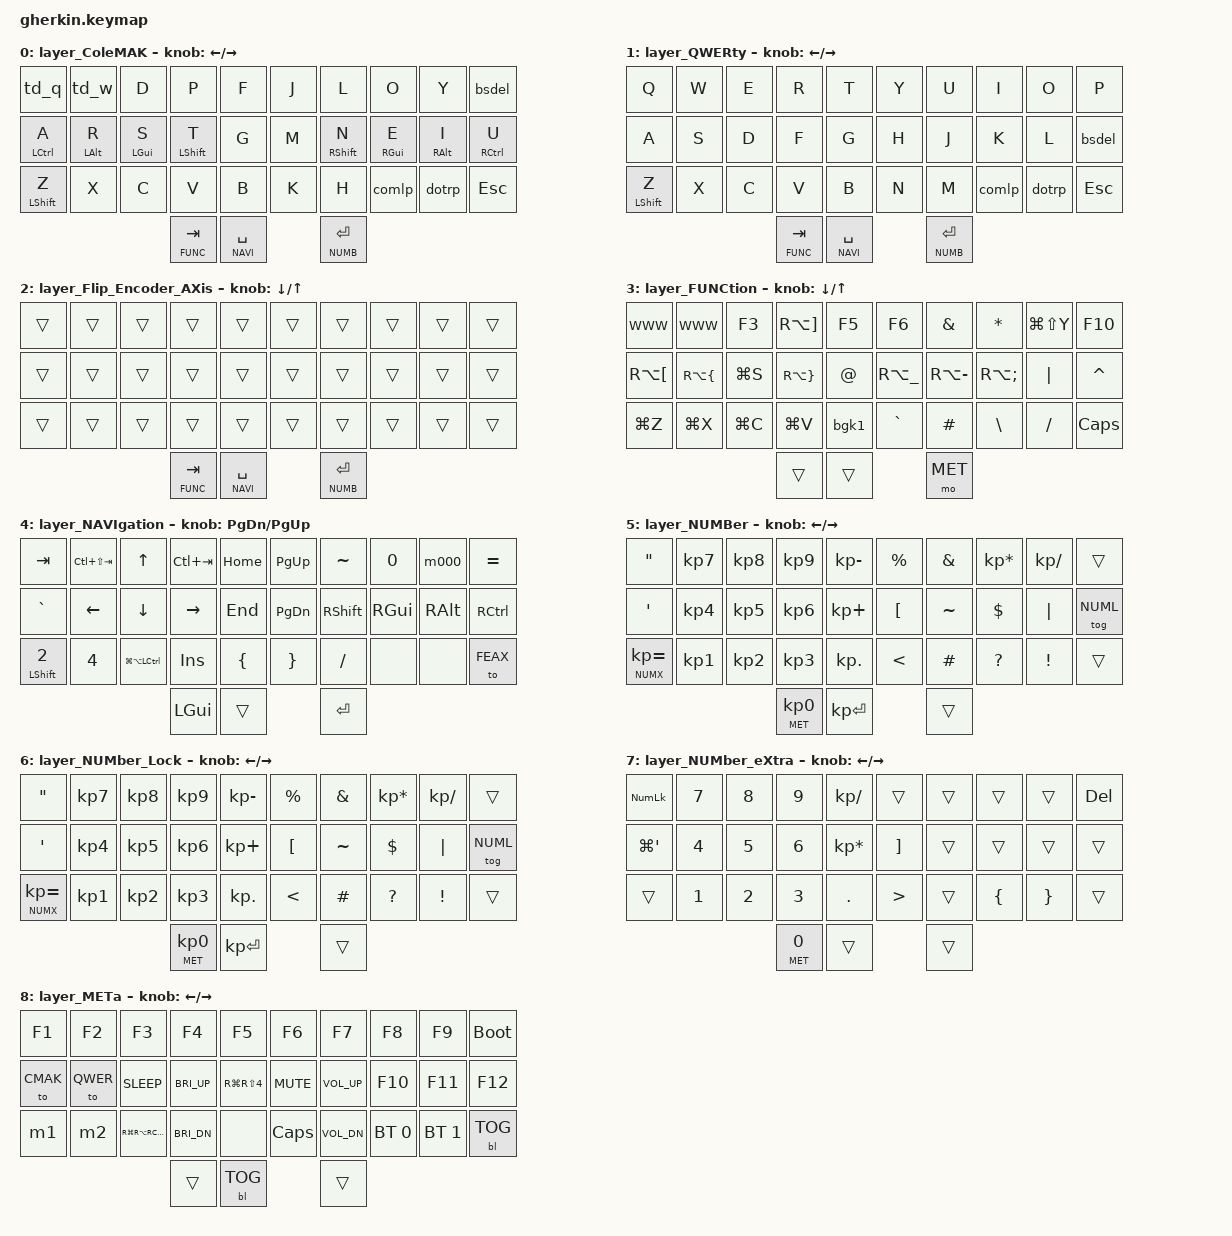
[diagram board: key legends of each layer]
/*
 * Copyright (c) 2020 The ZMK Contributors
 *
 * SPDX-License-Identifier: MIT
 */

#include <behaviors.dtsi>
#include <dt-bindings/zmk/keys.h>
#include <dt-bindings/zmk/backlight.h>
#include <dt-bindings/zmk/bt.h>
#include <dt-bindings/zmk/rgb.h>


/* Layers */
#define CMAK 0
#define QWER 1
#define FEAX 2
#define FUNC 3
#define NAVI 4
#define NUMB 5
#define NUML 6
#define NUMX 7
#define MET  8

/* Option Symbols */
#define LDQUO   RA(LBKT)
#define RDQUO   RA(LBRC)
#define LSQUO   RA(RBKT)
#define RSQUO   RA(RBRC)
#define NDASH   RA(MINUS)
#define MDASH   RA(UNDER)
#define ELLIP   RA(SEMI)

/* Shortcuts */
#define SCRSHT  RG(RS(N4))
#define TIMESHT RG(RA(RC(F10)))

/* Shorter Number Pad Codes */
#define P1      KP_NUMBER_1
#define P2      KP_NUMBER_2
#define P3      KP_NUMBER_3
#define P4      KP_NUMBER_4
#define P5      KP_NUMBER_5
#define P6      KP_NUMBER_6
#define P7      KP_NUMBER_7
#define P8      KP_NUMBER_8
#define P9      KP_NUMBER_9
#define P0      KP_NUMBER_0
#define PPLUS   KP_PLUS
#define PMIN    KP_MINUS
#define PMULT   KP_MULTIPLY
#define PDIV    KP_DIVIDE
#define PEQL    KP_EQUAL
#define PDOT    KP_DOT


&mt {
    tapping-term-ms = <175>;
    flavor = "balanced";
};

/ {
    behaviors {

        bsdel: backsp_del {
            compatible = "zmk,behavior-mod-morph";
            label = "BACKSP_DEL";
            #binding-cells = <0>;
            bindings = <&kp BSPC>, <&kp DEL>;
            mods = <MOD_LSFT>;
        };
        comlp: comma_paren {
            compatible = "zmk,behavior-mod-morph";
            label = "COMMA_PAREN";
            #binding-cells = <0>;
            bindings = <&kp COMMA>, <&kp LPAR>;
            mods = <MOD_LSFT>;
        };
        dotrp: dot_paren {
            compatible = "zmk,behavior-mod-morph";
            label = "DOT_PAREN";
            #binding-cells = <0>;
            bindings = <&kp DOT>, <&kp RPAR>;
            mods = <MOD_LSFT>;
        };

        td_q: tap_dance_q {
            compatible = "zmk,behavior-tap-dance";
            label = "TAP_DANCE_Q";
            #binding-cells = <0>;
            tapping-term-ms = <175>;
            bindings = <&kp Q>, <&kp SQT>;
        };
        td_w: tap_dance_w {
            compatible = "zmk,behavior-tap-dance";
            label = "TAP_DANCE_W";
            #binding-cells = <0>;
            tapping-term-ms = <175>;
            bindings = <&kp W>, <&kp DQT>;
        };
        td_comma: tap_dance_comma {
            compatible = "zmk,behavior-tap-dance";
            label = "TAP_DANCE_COMMA";
            #binding-cells = <0>;
            tapping-term-ms = <175>;
            bindings = <&kp COMMA>, <&kp SEMI>;
        };
        td_dot: tap_dance_dot {
            compatible = "zmk,behavior-tap-dance";
            label = "TAP_DANCE_DOT";
            #binding-cells = <0>;
            tapping-term-ms = <175>;
            bindings = <&kp DOT>, <&kp COLON>;
        };

/*
        grava: grave_a {
            compatible = "zmk,behavior-mod-morph";
            label = "GRAVE_A";
            #binding-cells = <0>;
            bindings = <&kp A>, <&kp GRAVE>;
            mods = <MOD_LGUI>;
        };
        taba: tab_a {
            compatible = "zmk,behavior-mod-morph";
            label = "TAB_A";
            #binding-cells = <0>;
            bindings = <&kp A>, <&kp TAB>;
            mods = <(MOD_LGUI|MOD_LALT|MOD_LCTL)>;
        };
        gravq: grave_q {
            compatible = "zmk,behavior-mod-morph";
            label = "GRAVE_Q";
            #binding-cells = <0>;
            bindings = <&kp Q>, <&kp GRAVE>;
            mods = <MOD_LGUI>;
        };
        tabq: tab_q {
            compatible = "zmk,behavior-mod-morph";
            label = "TAB_Q";
            #binding-cells = <0>;
            bindings = <&kp Q>, <&kp TAB>;
            mods = <(MOD_LGUI|MOD_LALT|MOD_LCTL)>;
        };
        stabr: shift_tab_r {
            compatible = "zmk,behavior-mod-morph";
            label = "SHIFT_TAB_R";
            #binding-cells = <0>;
            bindings = <&kp R>, <&kp BTAB>;
            mods = <(MOD_LALT|MOD_LCTL)>;
        };
        gravw: grave_w {
            compatible = "zmk,behavior-mod-morph";
            label = "GRAVE_W";
            #binding-cells = <0>;
            bindings = <&kp W>, <&kp GRAVE>;
            mods = <MOD_LGUI>;
        };
        tabw: tab_w {
            compatible = "zmk,behavior-mod-morph";
            label = "TAB_W";
            #binding-cells = <0>;
            bindings = <&kp W>, <&kp TAB>;
            mods = <(MOD_LGUI|MOD_LALT|MOD_LCTL)>;
        };
        comsc: comma_semi {
            compatible = "zmk,behavior-mod-morph";
            label = "COMMA_SEMI";
            #binding-cells = <0>;
            bindings = <&kp COMMA>, <&kp SEMI>;
            mods = <MOD_LSFT>;
        };
        dotco: dot_colon {
            compatible = "zmk,behavior-mod-morph";
            label = "DOT_COLON";
            #binding-cells = <0>;
            bindings = <&kp DOT>, <&kp COLON>;
            mods = <MOD_LSFT>;
        };
        comex: comma_excl {
            compatible = "zmk,behavior-mod-morph";
            label = "COMMA_EXCL";
            #binding-cells = <0>;
            bindings = <&kp COMMA>, <&kp EXCL>;
            mods = <MOD_LSFT>;
        };
        comqm: comma_qmark {
            compatible = "zmk,behavior-mod-morph";
            label = "COMMA_QMARK";
            #binding-cells = <0>;
            bindings = <&kp COMMA>, <&kp QMARK>;
            mods = <MOD_LSFT>;
        };
        dotex: dot_excl {
            compatible = "zmk,behavior-mod-morph";
            label = "DOT_EXCL";
            #binding-cells = <0>;
            bindings = <&kp DOT>, <&kp EXCL>;
            mods = <MOD_LSFT>;
        };
        dotqm: dot_qmark {
            compatible = "zmk,behavior-mod-morph";
            label = "DOT_QMARK";
            #binding-cells = <0>;
            bindings = <&kp DOT>, <&kp QMARK>;
            mods = <MOD_LSFT>;
        };
        minpl: minus_plus {
            compatible = "zmk,behavior-mod-morph";
            label = "MINUS_PLUS";
            #binding-cells = <0>;
            bindings = <&kp MINUS>, <&kp PLUS>;
            mods = <MOD_LSFT>;
        };
        slast: slash_astrk {
            compatible = "zmk,behavior-mod-morph";
            label = "SLASH_ASTRK";
            #binding-cells = <0>;
            bindings = <&kp SLASH>, <&kp ASTERISK>;
            mods = <MOD_LSFT>;
        };
*/
    };

    combos {
        compatible = "zmk,combos";
        combo_esc {
            timeout-ms = <50>;
            key-positions = <0 1>;
            layers = <0>;
            bindings = <&kp ESC>;
        };
        combo_minus {
            timeout-ms = <50>;
            key-positions = <8 9>;
            layers = <0>;
            bindings = <&kp MINUS>;
        };
        combo_capsword {
            timeout-ms = <50>;
            key-positions = <20 21>;
            layers = <0>;
            bindings = <&caps_word>;
        };
        combo_equal {
            timeout-ms = <50>;
            key-positions = <28 29>;
            layers = <0>;
            bindings = <&kp EQUAL>;
        };
    };

    macros {
        m000: macro000 {
            label = "macro000";
            compatible = "zmk,behavior-macro";
            #binding-cells = <0>;
            bindings
                = <&kp P0 &kp P0 &kp P0>
                ;
        };
        m1: macro1 {
            label = "macro1";
            compatible = "zmk,behavior-macro";
            #binding-cells = <0>;
            bindings
                = <&kp M &kp N1>
                ;
        };
        m2: macro2 {
            label = "macro2";
            compatible = "zmk,behavior-macro";
            #binding-cells = <0>;
            bindings
                = <&kp M &kp N2>
                ;
        };
        bgk1: macro_bgk1 {
            label = "macro_bgk1";
            compatible = "zmk,behavior-macro";
            #binding-cells = <0>;
            bindings
                = <&kp LS(B) &kp A &kp R &kp N &kp A &kp B &kp Y>
                ;
        };
    };

    sensors {
        compatible = "zmk,keymap-sensors";
        sensors = <&encoder>;
    };


    keymap {
        compatible = "zmk,keymap";

        layer_ColeMAK {
            bindings = <
                &td_q       &td_w       &kp D       &kp P       &kp F       &kp J       &kp L       &kp O       &kp Y       &bsdel
                &mt LCTRL A &mt LALT R  &mt LGUI S  &mt LSHFT T &kp G       &kp M       &mt RSHFT N &mt RGUI E  &mt RALT I  &mt RCTRL U
                &mt LSHFT Z &kp X       &kp C       &kp V       &kp B       &kp K       &kp H       &comlp      &dotrp      &kp ESC
                                                    &lt FUNC TAB    &lt NAVI SPC        &lt NUMB RET
            >;
            sensor-bindings = <&inc_dec_kp LEFT RIGHT>;
        };

        layer_QWERty {
            bindings = <
                &kp Q       &kp W       &kp E       &kp R       &kp T       &kp Y       &kp U       &kp I       &kp O       &kp P
                &kp A       &kp S       &kp D       &kp F       &kp G       &kp H       &kp J       &kp K       &kp L       &bsdel
                &mt LSHFT Z &kp X       &kp C       &kp V       &kp B       &kp N       &kp M       &comlp      &dotrp      &kp ESC
                                                    &lt FUNC TAB    &lt NAVI SPC        &lt NUMB RET
            >;
            sensor-bindings = <&inc_dec_kp LEFT RIGHT>;
        };

        layer_Flip_Encoder_AXis {
            bindings = <
                &trans      &trans      &trans      &trans      &trans      &trans      &trans      &trans      &trans      &trans
                &trans      &trans      &trans      &trans      &trans      &trans      &trans      &trans      &trans      &trans
                &trans      &trans      &trans      &trans      &trans      &trans      &trans      &trans      &trans      &trans
                                                    &lt FUNC TAB    &lt NAVI SPC        &lt NUMB RET
            >;
            sensor-bindings = <&inc_dec_kp DOWN UP>;
        };

        layer_FUNCtion {
            bindings = <
                &kp K_WWW   &kp K_WWW   &kp F3      &kp LSQUO   &kp F5      &kp F6      &kp AMPS    &kp ASTRK &kp LG(LS(Y)) &kp F10
                &kp LDQUO   &kp RDQUO   &kp LG(S)   &kp RSQUO   &kp AT      &kp MDASH   &kp NDASH   &kp ELLIP   &kp PIPE    &kp CARET
                &kp LG(Z)   &kp LG(X)   &kp LG(C)   &kp LG(V)   &bgk1       &kp GRAVE   &kp HASH    &kp BSLH    &kp FSLH    &kp CAPS
                                                    &trans          &trans              &mo MET
            >;
            sensor-bindings = <&inc_dec_kp DOWN UP>;
        };

        layer_NAVIgation {
            bindings = <
                &kp TAB &kp LC(LS(TAB)) &kp UP      &kp LC(TAB) &kp HOME    &kp PG_UP   &kp TILDE   &kp N0      &m000       &kp EQUAL
                &kp GRAVE   &kp LEFT    &kp DOWN    &kp RIGHT   &kp END     &kp PG_DN   &kp RSHIFT  &kp RGUI    &kp RALT    &kp RCTRL
               &mt LSHFT N2 &kp N4 &kp LG(LA(LCTRL)) &kp INSERT &kp LBRC    &kp RBRC    &kp FSLH    &none       &none       &to FEAX
                                                    &kp LGUI        &trans              &kp RETURN
            >;
            sensor-bindings = <&inc_dec_kp PG_DN PG_UP>;
        };

        layer_NUMBer {
            bindings = <
                &kp DQT     &kp KP_N7   &kp KP_N8   &kp KP_N9  &kp KP_MINUS &kp PRCNT   &kp AMPS    &kp PMULT   &kp PDIV    &trans
                &kp SQT     &kp KP_N4   &kp KP_N5   &kp KP_N6   &kp KP_PLUS &kp LBKT    &kp TILDE   &kp DLLR    &kp PIPE    &tog NUML
          &lt NUMX KP_EQUAL &kp KP_N1   &kp KP_N2   &kp KP_N3   &kp KP_DOT  &kp LT      &kp HASH    &kp QMARK   &kp EXCL    &trans
                                                    &lt MET KP_N0   &kp KP_ENTER        &trans
            >;
            sensor-bindings = <&inc_dec_kp LEFT RIGHT>;
        };

        layer_NUMber_Lock {
            bindings = <
                &kp DQT     &kp KP_N7   &kp KP_N8   &kp KP_N9  &kp KP_MINUS &kp PRCNT   &kp AMPS    &kp PMULT   &kp PDIV    &trans
                &kp SQT     &kp KP_N4   &kp KP_N5   &kp KP_N6   &kp KP_PLUS &kp LBKT    &kp TILDE   &kp DLLR    &kp PIPE    &tog NUML
          &lt NUMX KP_EQUAL &kp KP_N1   &kp KP_N2   &kp KP_N3   &kp KP_DOT  &kp LT      &kp HASH    &kp QMARK   &kp EXCL    &trans
                                                    &lt MET KP_N0   &kp KP_ENTER        &trans
            >;
            sensor-bindings = <&inc_dec_kp LEFT RIGHT>;
        };

        layer_NUMber_eXtra {
            bindings = <
                &kp KP_NLCK &kp N7      &kp N8      &kp N9      &kp PDIV    &trans      &trans      &trans      &trans      &kp DELETE
                &kp LG(SQT) &kp N4      &kp N5      &kp N6      &kp PMULT   &kp RBKT    &trans      &trans      &trans      &trans
                &trans      &kp N1      &kp N2      &kp N3      &kp DOT     &kp GT      &trans      &kp LBRC    &kp RBRC    &trans
                                                    &lt MET N0      &trans              &trans
            >;
            sensor-bindings = <&inc_dec_kp LEFT RIGHT>;
        };

        layer_METa {
            bindings = <
                &kp F1      &kp F2      &kp F3      &kp F4      &kp F5      &kp F6      &kp F7      &kp F8      &kp F9      &bootloader
                &to CMAK    &to QWER    &kp C_SLEEP &kp C_BRI_UP &kp SCRSHT &kp K_MUTE &kp C_VOL_UP &kp F10     &kp F11     &kp F12
                &m1         &m2         &kp TIMESHT &kp C_BRI_DN &none      &kp CAPS   &kp C_VOL_DN &bt BT_SEL 0 &bt BT_SEL 1 &bl BL_TOG
                                                    &trans          &bl BL_TOG         &trans

            >;
            sensor-bindings = <&inc_dec_kp LEFT RIGHT>;
        };
    };
};
